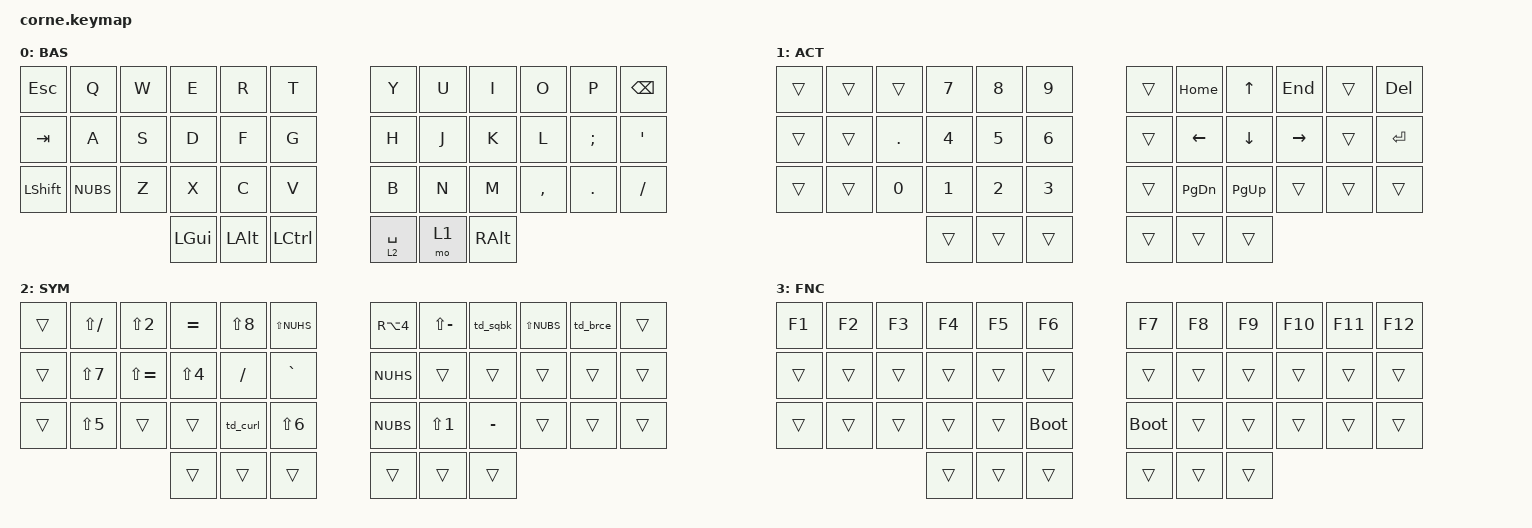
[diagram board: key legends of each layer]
/*
 * Copyright (c) 2020 The ZMK Contributors
 *
 * SPDX-License-Identifier: MIT
 */

#include <behaviors.dtsi>
#include <dt-bindings/zmk/keys.h>
#include <dt-bindings/zmk/bt.h>
#include <dt-bindings/zmk/outputs.h>
#include <dt-bindings/zmk/ext_power.h>
#include <dt-bindings/led/led.h>
#include <dt-bindings/zmk/backlight.h>
#include <dt-bindings/zmk/rgb.h>
#include <dt-bindings/zmk/reset.h>

&led_strip {
    chain-length = <27>;
};

/ {
    behaviors {
        td_curl: tap_dance_0 {
            compatible = "zmk,behavior-tap-dance";
            #binding-cells = <0>;
            tapping-term-ms = <200>;
            bindings = <&kp LS(LBKT)>, <&kp LS(RBKT)>;
        };
        td_sqbk: tap_dance_1 {
            compatible = "zmk,behavior-tap-dance";
            #binding-cells = <0>;
            tapping-term-ms = <200>;
            bindings = <&kp LBKT>, <&kp RBKT>;
        };
        td_brce: tap_dance_2 {
            compatible = "zmk,behavior-tap-dance";
            #binding-cells = <0>;
            tapping-term-ms = <200>;
            bindings = <&kp LS(N9)>, <&kp LS(N0)>;
        };
    };

    keymap {
        compatible = "zmk,keymap";

        default_layer {
            display-name = "BAS";

            bindings = <
    &kp ESC      &kp Q       &kp W   &kp E      &kp R       &kp T                           &kp Y   &kp U   &kp I   &kp O       &kp P       &kp BSPC
    &kp TAB      &kp A       &kp S   &kp D      &kp F       &kp G                           &kp H   &kp J   &kp K   &kp L       &kp SEMI    &kp SQT
    &kp LSHFT    &kp NUBS    &kp Z   &kp X      &kp C       &kp V                           &kp B   &kp N   &kp M   &kp COMMA   &kp DOT     &kp FSLH
                                     &kp LGUI   &kp LALT    &kp LCTRL           &lt 2 SPACE &mo 1   &kp RALT
            >;
        };

        lower_layer {
            display-name = "ACT";

            bindings = <
    &trans  &trans  &trans      &kp N7  &kp N8  &kp N9                      &trans  &kp HOME    &kp UP      &kp END     &trans  &kp DELETE
    &trans  &trans  &kp DOT     &kp N4  &kp N5  &kp N6                      &trans  &kp LEFT    &kp DOWN    &kp RIGHT   &trans  &kp RET
    &trans  &trans  &kp N0      &kp N1  &kp N2  &kp N3                      &trans  &kp PG_DN   &kp PG_UP   &trans      &trans  &trans
                                        &trans  &trans  &trans      &trans  &trans  &trans
            >;
        };

        raise_layer {
            display-name = "SYM";
            
            bindings = <
    &trans      &kp LS(FSLH) &kp LS(N2)     &kp EQUAL   &kp LS(N8)  &kp LS(NUHS)                        &kp RA(N4)  &kp LS(MINUS) &td_sqbk  &kp LS(NUBS) &td_brce   &trans
    &trans      &kp LS(N7)  &kp LS(EQUAL)   &kp LS(N4)  &kp FSLH    &kp GRAVE                           &kp NUHS    &trans      &trans      &trans      &trans      &trans
    &trans      &kp LS(N5)  &trans          &trans      &td_curl    &kp LS(N6)                          &kp NUBS    &kp LS(N1)  &kp MINUS   &trans      &trans      &trans
                                                        &trans      &trans      &trans      &trans      &trans      &trans
            >;
        };


        func_layer {
            display-name = "FNC";

            bindings = <
    &kp F1      &kp F2      &kp F3      &kp F4      &kp F5      &kp F6                              &kp F7      &kp F8      &kp F9      &kp F10     &kp F11     &kp F12
    &trans      &trans      &trans      &trans      &trans      &trans                              &trans      &trans      &trans      &trans      &trans      &trans
    &trans      &trans      &trans      &trans      &trans      &bootloader                         &bootloader &trans      &trans      &trans      &trans      &trans        
                                                    &trans      &trans      &trans      &trans      &trans      &trans
            >;
        };

        extra_1 {
            status = "reserved";
        };

        extra_2 {
            status = "reserved";
        };
    };
};
